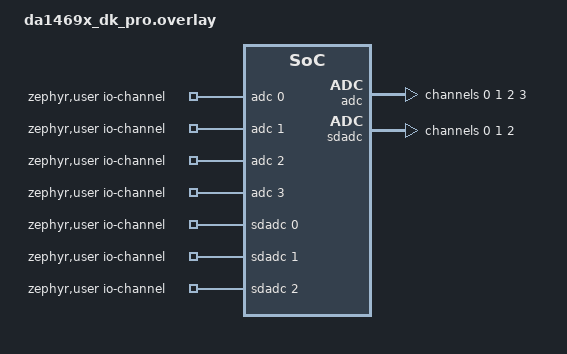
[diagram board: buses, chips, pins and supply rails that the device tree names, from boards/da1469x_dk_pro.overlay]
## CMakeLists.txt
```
#
# Copyright (c) 2024 Nordic Semiconductor
#
# SPDX-License-Identifier: LicenseRef-Nordic-5-Clause
#

cmake_minimum_required(VERSION 3.20.0)
find_package(Zephyr REQUIRED HINTS $ENV{ZEPHYR_BASE})

project(my_adc)

target_sources(app PRIVATE src/main.c)
```

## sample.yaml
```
sample:
  description: nRF Connect SDK Intermediate Course by Nordic Developer Academy (https://academy.nordicsemi.com/)
  name: nRF Connect SDK Intermediate Course - Lesson 6 Exercise 1 Solution
  
common: 
    sysbuild: true
    build_only: true
    integration_platforms: 
      - nrf52dk/nrf52832
      - nrf52833dk/nrf52833
      - nrf52840dk/nrf52840
      - nrf9160dk/nrf9160/ns
      - nrf9161dk/nrf9161/ns
      - nrf9151dk/nrf9151/ns
      - nrf5340dk/nrf5340/cpuapp
      - nrf5340dk/nrf5340/cpuapp/ns
      - nrf54l15dk/nrf54l15/cpuapp
      - nrf54l15dk/nrf54l15/cpuapp/ns
      - nrf7002dk/nrf5340/cpuapp
      - nrf7002dk/nrf5340/cpuapp/ns
    platform_exclude:
      - native_sim
    
tests:
  ncs_inter.l6.e1_sol: {}
```

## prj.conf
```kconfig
#
# Copyright (c) 2024 Nordic Semiconductor
#
# SPDX-License-Identifier: LicenseRef-Nordic-5-Clause
#

CONFIG_LOG=y
# STEP 1 - Enable the ADC API and driver
CONFIG_ADC=y
```

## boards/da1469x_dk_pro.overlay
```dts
/*
 * Copyright (c) 2023 Renesas Electronics Corporation
 *
 * SPDX-License-Identifier: Apache-2.0
 */

#include <zephyr/dt-bindings/adc/adc.h>

/ {
	zephyr,user {
		/* adjust channel number according to pinmux in board.dts */
		io-channels = <&adc 0 &adc 1 &adc 2 &adc 3 &sdadc 0 &sdadc 1 &sdadc 2>;
	};
};

&pinctrl {
	adc_default: adc_default {
		group_1 {
			pinmux = <SMARTBOND_PINMUX(ADC, 0, 25)>,
				 <SMARTBOND_PINMUX(ADC, 1, 9)>,
				 <SMARTBOND_PINMUX(ADC, 1, 19)>;
		};
	};
	sdadc_default: sdadc_default {
		group_1 {
			pinmux = <SMARTBOND_PINMUX(ADC, 1, 14)>,
				 <SMARTBOND_PINMUX(ADC, 1, 20)>,
				 <SMARTBOND_PINMUX(ADC, 1, 21)>;
		};
	};
};

&adc {
	#address-cells = <1>;
	#size-cells = <0>;
	status = "okay";

	channel@0 {
		reg = <0>;
		zephyr,gain = "ADC_GAIN_1_3";
		zephyr,reference = "ADC_REF_INTERNAL";
		zephyr,acquisition-time = <ADC_ACQ_TIME_DEFAULT>;
		zephyr,resolution = <12>;
		zephyr,oversampling = <7>;
		zephyr,input-positive = <SMARTBOND_GPADC_P1_09>;
	};
	channel@1 {
		reg = <1>;
		zephyr,gain = "ADC_GAIN_1_3";
		zephyr,reference = "ADC_REF_INTERNAL";
		zephyr,acquisition-time = <ADC_ACQ_TIME_DEFAULT>;
		zephyr,resolution = <12>;
		zephyr,oversampling = <0>;
		zephyr,input-positive = <SMARTBOND_GPADC_V30>;
	};
	channel@2 {
		reg = <2>;
		zephyr,gain = "ADC_GAIN_1_3";
		zephyr,reference = "ADC_REF_INTERNAL";
		zephyr,acquisition-time = <ADC_ACQ_TIME_DEFAULT>;
		zephyr,resolution = <12>;
		zephyr,oversampling = <0>;
		zephyr,input-positive = <SMARTBOND_GPADC_P0_25>;
	};
	channel@3 {
		reg = <3>;
		zephyr,gain = "ADC_GAIN_1_3";
		zephyr,reference = "ADC_REF_INTERNAL";
		zephyr,acquisition-time = <ADC_ACQ_TIME_DEFAULT>;
		zephyr,resolution = <12>;
		zephyr,oversampling = <0>;
		zephyr,input-positive = <SMARTBOND_GPADC_P1_19>;
	};
	pinctrl-0 = <&adc_default>;
	pinctrl-names = "default";
};

&sdadc {
	#address-cells = <1>;
	#size-cells = <0>;
	status = "okay";

	channel@0 {
		reg = <0>;
		zephyr,gain = "ADC_GAIN_1";
		zephyr,reference = "ADC_REF_INTERNAL";
		zephyr,acquisition-time = <ADC_ACQ_TIME_DEFAULT>;
		zephyr,resolution = <14>;
		zephyr,oversampling = <7>;
		zephyr,input-positive = <SMARTBOND_SDADC_P1_14>;
	};
	channel@1 {
		reg = <1>;
		zephyr,gain = "ADC_GAIN_1";
		zephyr,reference = "ADC_REF_INTERNAL";
		zephyr,acquisition-time = <ADC_ACQ_TIME_DEFAULT>;
		zephyr,resolution = <14>;
		zephyr,oversampling = <7>;
		zephyr,input-positive = <SMARTBOND_SDADC_P1_20>;
		zephyr,input-negative = <SMARTBOND_SDADC_P1_21>;
	};
	channel@2 {
		reg = <2>;
		zephyr,gain = "ADC_GAIN_1_4";
		zephyr,reference = "ADC_REF_INTERNAL";
		zephyr,acquisition-time = <ADC_ACQ_TIME_DEFAULT>;
		zephyr,resolution = <14>;
		zephyr,oversampling = <7>;
		zephyr,input-positive = <SMARTBOND_SDADC_VBAT>;
	};
	pinctrl-0 = <&sdadc_default>;
	pinctrl-names = "default";
};
```

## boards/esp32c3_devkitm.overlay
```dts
/*
 * Copyright (c) 2022 Wolter HV <wolterhv@gmx.de>
 *
 * SPDX-License-Identifier: Apache-2.0
 */

/ {
	zephyr,user {
		io-channels =
			<&adc0 0>,
			<&adc1 0>;
	};
};

&adc0 {
	status = "okay";
	#address-cells = <1>;
	#size-cells = <0>;

	channel@0 {
		reg = <0>;
		zephyr,gain = "ADC_GAIN_1_4";
		zephyr,reference = "ADC_REF_INTERNAL";
		zephyr,acquisition-time = <ADC_ACQ_TIME_DEFAULT>;
		zephyr,resolution = <12>;
	};
};

&adc1 {
	status = "okay";
	#address-cells = <1>;
	#size-cells = <0>;

	channel@0 {
		reg = <0>;
		zephyr,gain = "ADC_GAIN_1_4";
		zephyr,reference = "ADC_REF_INTERNAL";
		zephyr,acquisition-time = <ADC_ACQ_TIME_DEFAULT>;
		zephyr,resolution = <12>;
	};
};
```

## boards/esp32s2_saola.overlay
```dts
/*
 * Copyright (c) 2022 Wolter HV <wolterhv@gmx.de>
 *
 * SPDX-License-Identifier: Apache-2.0
 */

/ {
	zephyr,user {
		io-channels =
			<&adc0 0>,
			<&adc1 0>;
	};
};

&adc0 {
	status = "okay";
	#address-cells = <1>;
	#size-cells = <0>;

	channel@0 {
		reg = <0>;
		zephyr,gain = "ADC_GAIN_1_4";
		zephyr,reference = "ADC_REF_INTERNAL";
		zephyr,acquisition-time = <ADC_ACQ_TIME_DEFAULT>;
		zephyr,resolution = <13>;
	};
};

&adc1 {
	status = "okay";
	#address-cells = <1>;
	#size-cells = <0>;

	channel@0 {
		reg = <0>;
		zephyr,gain = "ADC_GAIN_1_4";
		zephyr,reference = "ADC_REF_INTERNAL";
		zephyr,acquisition-time = <ADC_ACQ_TIME_DEFAULT>;
		zephyr,resolution = <13>;
	};
};
```

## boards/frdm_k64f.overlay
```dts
/*
 * SPDX-License-Identifier: Apache-2.0
 *
 * Copyright (c) 2022 NXP
 */

/ {
	zephyr,user {
		/* adjust channel number according to pinmux in board.dts */
		io-channels = <&adc1 14>;
	};
};

&adc1 {
	#address-cells = <1>;
	#size-cells = <0>;

	channel@e {
		reg = <14>;
		zephyr,gain = "ADC_GAIN_1";
		zephyr,reference = "ADC_REF_INTERNAL";
		zephyr,acquisition-time = <ADC_ACQ_TIME_DEFAULT>;
		zephyr,resolution = <12>;
	};
};
```

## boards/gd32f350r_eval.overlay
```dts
/*
 * SPDX-License-Identifier: Apache-2.0
 *
 * Copyright (c) 2022 BrainCo Inc.
 */

 / {
	zephyr,user {
		/* adjust channel number according to pinmux in board.dts */
		io-channels = <&adc0 11>;
	};
};

&adc0 {
	#address-cells = <1>;
	#size-cells = <0>;

	channel@b {
		reg = <11>;
		zephyr,gain = "ADC_GAIN_1";
		zephyr,reference = "ADC_REF_INTERNAL";
		zephyr,acquisition-time = <ADC_ACQ_TIME_DEFAULT>;
		zephyr,resolution = <12>;
	};
};
```

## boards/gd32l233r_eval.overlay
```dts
/*
 * SPDX-License-Identifier: Apache-2.0
 *
 * Copyright (c) 2022 BrainCo Inc.
 */

 / {
	zephyr,user {
		/* adjust channel number according to pinmux in board.dts */
		io-channels = <&adc0 1>;
	};
};

&adc0 {
	#address-cells = <1>;
	#size-cells = <0>;

	channel@1 {
		reg = <1>;
		zephyr,gain = "ADC_GAIN_1";
		zephyr,reference = "ADC_REF_INTERNAL";
		zephyr,acquisition-time = <ADC_ACQ_TIME_DEFAULT>;
		zephyr,resolution = <12>;
	};
};
```

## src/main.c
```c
/*
 * Reading ADC Value over Analog pin A0(P0.04 For nRF5340DK and P0.02 for other boards)
 * Converting RAW ADC value into mV
 * And printing/LOGGING it over Terminal
 */

#include <zephyr/kernel.h>
#include <zephyr/device.h>
#include <zephyr/devicetree.h>
#include <zephyr/logging/log.h>
#include <zephyr/drivers/adc.h>

// Define a variable of type adc_dt_spec for each channel
static const struct adc_dt_spec adc_channel = ADC_DT_SPEC_GET(DT_PATH(zephyr_user));

// LOG_MODULE_REGISTER( Reading_ADC_Value, LOG_LEVEL_DBG);	//Enable if you Want LOGGING

int main(void)
{
	int err;
	uint32_t count = 0;

	int16_t buf;
	struct adc_sequence sequence = {
		.buffer = &buf,
		/* buffer size in bytes, not number of samples */
		.buffer_size = sizeof(buf),
	};

	/* validate that the ADC peripheral (SAADC) is ready */
	if (!adc_is_ready_dt(&adc_channel)) {

		// LOG_ERR("ADC controller devivce %s not ready", adc_channel.dev->name);
		printk("ADC controller devivce %s not ready \n", adc_channel.dev->name);

		return 0;
	}
	/* Setup the ADC channel */
	err = adc_channel_setup_dt(&adc_channel);
	if (err < 0) {

		// LOG_ERR("Could not setup channel #%d (%d)", 0, err);
		printk("Could not setup channel #%d (%d)\n", 0, err);

		return 0;
	}
	/* Initialize the ADC sequence */
	err = adc_sequence_init_dt(&adc_channel, &sequence);
	if (err < 0) {

		// LOG_ERR("Could not initalize sequnce");
		printk("Could not initalize sequnce\n");

		return 0;
	}

	while (1) {
		int val_mv;

		/* Read a sample from the ADC */
		err = adc_read(adc_channel.dev, &sequence);
		if (err < 0) {

			// LOG_ERR("Could not read (%d)", err);
			printk("Could not read (%d)\n", err);

			continue;
		}

		val_mv = (int)buf;

		// LOG_INF("ADC reading[%u]: %s, channel %d: Raw: %d", count++, adc_channel.dev->name,adc_channel.channel_id, val_mv);
		printk("ADC reading[%u]: %s, channel %d: Raw ADC: %d ", count++, adc_channel.dev->name,adc_channel.channel_id, val_mv);


		/* Convert raw ADC value to mV*/
		err = adc_raw_to_millivolts_dt(&adc_channel, &val_mv);
		/* conversion to mV may not be supported, skip if not */
		if (err < 0) {

			// LOG_WRN(" (value in mV not available)\n");
			printk(" (value in mV not available)\n");
		} else {

			// LOG_INF(" = %d mV", val_mv);
			printk(" = %d mV\n", val_mv);
		}


		k_sleep(K_MSEC(100));
	}
	return 0;
}
```
